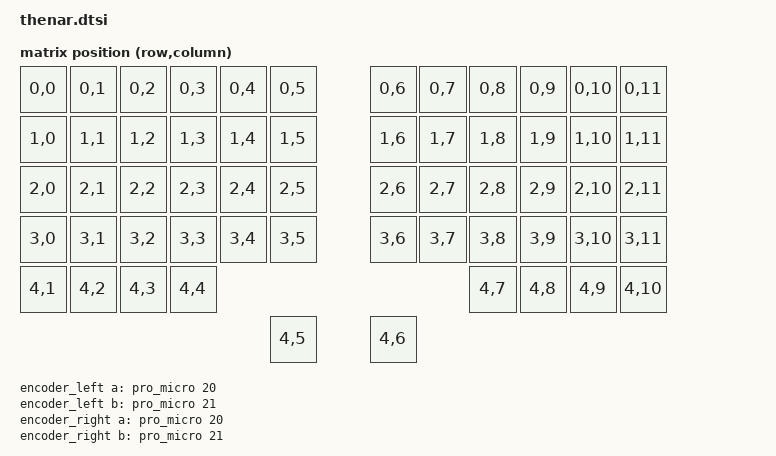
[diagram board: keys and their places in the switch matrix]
#include <dt-bindings/zmk/matrix_transform.h>
#include "thenar-layouts.dtsi"

/ {
    chosen {
        zmk,physical-layout = <&physical_layout0>;
        zmk,kscan = &kscan0;
    };

    // 5 rows x 12 cols. col-offset = 6 on the right-half overlay so left
    // half scans land in cols 0..5 and right half in cols 6..11.
    //
    // The mod row holds 8 keys total (4 per half): middle.mod, index.mod,
    // thumb.layer, thumb.space. Their matrix coords come from the ergogen
    // config:
    //
    //   middle.mod  : column_net=row1, row_net=col4 -> RC(4,1)
    //   index.mod   : column_net=row2, row_net=col4 -> RC(4,2)
    //   thumb.layer : column_net=row3, row_net=col4 -> RC(4,3)
    //   thumb.space : column_net=row4, row_net=col4 -> RC(4,4)
    //
    // Right half adds col-offset 6. Note its col-gpios are REVERSED
    // (inner-first, see thenar_right.overlay), so on that half matrix col
    // 6 is the INNERMOST finger column and col 11 the outermost:
    // right.thumb_space is RC(4,7) and right.middle_mod is RC(4,10).
    //
    // The mod row is listed ASCENDING on both halves so that keymap
    // positions read physical-left-to-right, exactly like the four grid
    // rows above (where position 6 = RC(0,6) = the right half's leftmost
    // key). The right half's four entries were descending until 2026-07,
    // which made positions 52-55 run right-to-left - the opposite
    // direction from every other row - so every thumb line in the keymap
    // was written mirrored while the rest of the layer was not. Behavior
    // is unchanged by the flip; the keymap's right-hand thumb groups were
    // reversed to compensate.
    //
    // The encoder's push switch is also in the matrix: column_net=row5,
    // row_net=col4 -> RC(4,5) on the left half, RC(4,11) on the right.
    // Both map to the last two keymap positions (56 = left press,
    // 57 = right press).
    default_transform: keymap_transform_0 {
        compatible = "zmk,matrix-transform";
        rows = <5>;
        columns = <12>;

        map = <
RC(0,0) RC(0,1) RC(0,2) RC(0,3) RC(0,4) RC(0,5)                                 RC(0,6) RC(0,7) RC(0,8) RC(0,9) RC(0,10) RC(0,11)
RC(1,0) RC(1,1) RC(1,2) RC(1,3) RC(1,4) RC(1,5)                                 RC(1,6) RC(1,7) RC(1,8) RC(1,9) RC(1,10) RC(1,11)
RC(2,0) RC(2,1) RC(2,2) RC(2,3) RC(2,4) RC(2,5)                                 RC(2,6) RC(2,7) RC(2,8) RC(2,9) RC(2,10) RC(2,11)
RC(3,0) RC(3,1) RC(3,2) RC(3,3) RC(3,4) RC(3,5)                                 RC(3,6) RC(3,7) RC(3,8) RC(3,9) RC(3,10) RC(3,11)
                                RC(4,1) RC(4,2) RC(4,3) RC(4,4) RC(4,7) RC(4,8) RC(4,9) RC(4,10)
RC(4,5) RC(4,6)
// ^ encoder presses: pos 56 = left (RC(4,5)), pos 57 = right (RC(4,6)).
// Both encoder push switches wire to the inner (row5) net. On the left
// half col-gpios are in normal order so inner = matrix col 5. On the
// right half col-gpios are REVERSED (inner-first, to mirror the main
// grid), so the inner net lands on matrix col 6 - NOT col 11. The
// right encoder press was RC(4,11) until 2026-07 and silently dropped
// (fired the unmapped RC(4,6)); the col-gpios reversal in the matrix
// fix moved it and this entry wasn't updated to match. Verified by
// USB-logging console capture.
        >;
    };

    kscan0: kscan {
        compatible = "zmk,kscan-gpio-matrix";
        wakeup-source;
    };

    // EVQWGD001 scrollwheel - mounts on whichever half is in use, with the
    // a/b pins wired identically to the corax. ZMK treats it as an encoder.
    encoder_left: encoder_left {
        compatible = "alps,ec11";
        a-gpios = <&pro_micro 20 (GPIO_ACTIVE_HIGH | GPIO_PULL_UP)>;
        b-gpios = <&pro_micro 21 (GPIO_ACTIVE_HIGH | GPIO_PULL_UP)>;
        steps = <30>;
        status = "disabled";
    };

    // Same pins as encoder_left: thenar routes the encoder to the ENCA/
    // ENCB nets (pins 20/21) on BOTH halves - the down-side jumpers next
    // to the encoder select the correct pin order per side. (The old 2/3
    // assignment was inherited from upstream corax and never applied to
    // thenar's routing.)
    encoder_right: encoder_right {
        compatible = "alps,ec11";
        a-gpios = <&pro_micro 20 (GPIO_ACTIVE_HIGH | GPIO_PULL_UP)>;
        b-gpios = <&pro_micro 21 (GPIO_ACTIVE_HIGH | GPIO_PULL_UP)>;
        steps = <30>;
        status = "disabled";
    };

    sensors: sensors {
        compatible = "zmk,keymap-sensors";
        sensors = <&encoder_left &encoder_right>;
        // Measured on real hardware (evtest capture, 2026-07): the
        // EVQWGD001 has ~15 detents per revolution and emits 2 quadrature
        // pulses per detent, i.e. 30 pulses/rev - hence steps = <30> on
        // the encoder nodes and 15 triggers here for exactly one keymap
        // event per detent. Setting this to 30 double-fires per detent.
        triggers-per-rotation = <15>;
    };
};
